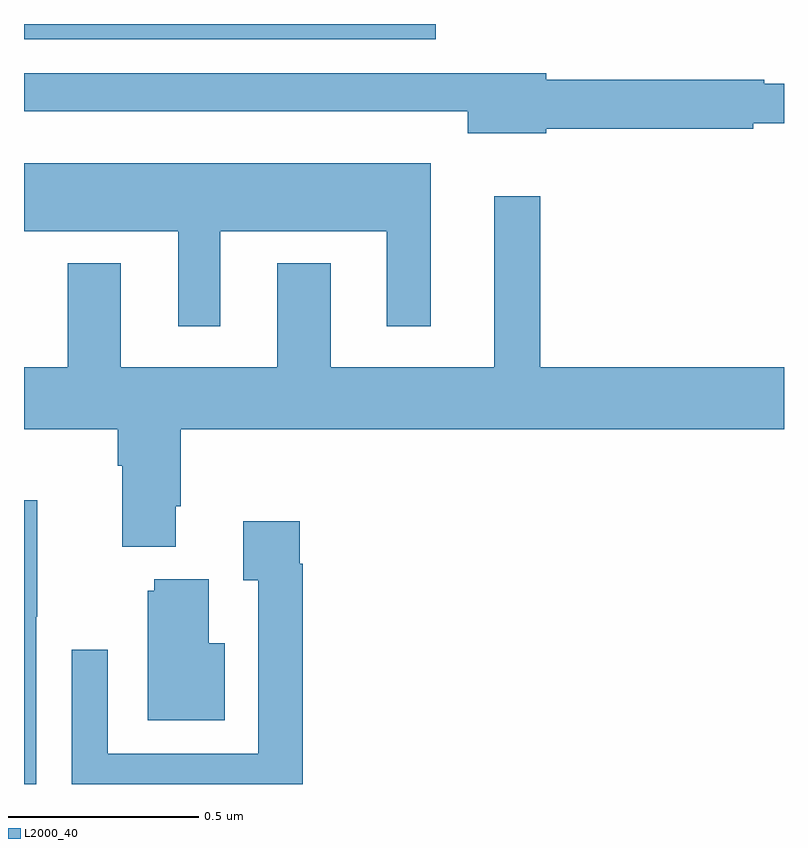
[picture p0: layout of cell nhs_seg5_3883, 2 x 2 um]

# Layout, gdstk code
import gdstk
lib = gdstk.Library(unit=1e-6, precision=1e-09)
def R(c, l, rs):  # rectangles x0, y0, x1, y1
    for r in rs: c.add(gdstk.rectangle(r[:2], r[2:], *l))
def P(c, l, *ps):  # polygons
    for p in ps: c.add(gdstk.Polygon(p, *l))
L2000_40 = (2000, 40)

nhs_seg5_3883 = lib.new_cell('nhs_seg5_3883')
R(nhs_seg5_3883, L2000_40, [(163,885.759,164.083,885.799)])
P(nhs_seg5_3883, L2000_40, [(164.374,885.523),(164.919,885.523),(164.919,885.538),(165,885.538),(165,885.642),(164.948,885.642),(164.948,885.652),(164.374,885.652),(164.374,885.67),(163,885.67),(163,885.569),(164.168,885.569),(164.168,885.512),(164.374,885.512)],
  [(163.516,885.254),(163.955,885.254),(163.955,885.003),(164.071,885.003),(164.071,885.433),(163,885.433),(163,885.254),(163.406,885.254),(163.406,885.003),(163.516,885.003)],
  [(163.399,884.53),(163.412,884.53),(163.412,884.732),(165,884.732),(165,884.896),(164.359,884.896),(164.359,885.346),(164.237,885.346),(164.237,884.896),(163.807,884.896),(163.807,885.169),(163.667,885.169),(163.667,884.896),(163.255,884.896),(163.255,885.169),(163.115,885.169),(163.115,884.896),(163,884.896),(163,884.732),(163.247,884.732),(163.247,884.636),(163.259,884.636),(163.259,884.423),(163.399,884.423)],
  [(163.032,884.239),(163.035,884.239),(163.035,884.546),(163,884.546),(163,883.799),(163.032,883.799)],
  [(163.733,884.378),(163.726,884.378),(163.726,884.491),(163.577,884.491),(163.577,884.335),(163.617,884.335),(163.617,883.878),(163.221,883.878),(163.221,884.152),(163.125,884.152),(163.125,883.799),(163.733,883.799)],
  [(163.528,884.17),(163.486,884.17),(163.486,884.338),(163.343,884.338),(163.343,884.307),(163.325,884.307),(163.325,883.967),(163.528,883.967)])

lib.write_gds('nhs_seg5_3883.gds')
